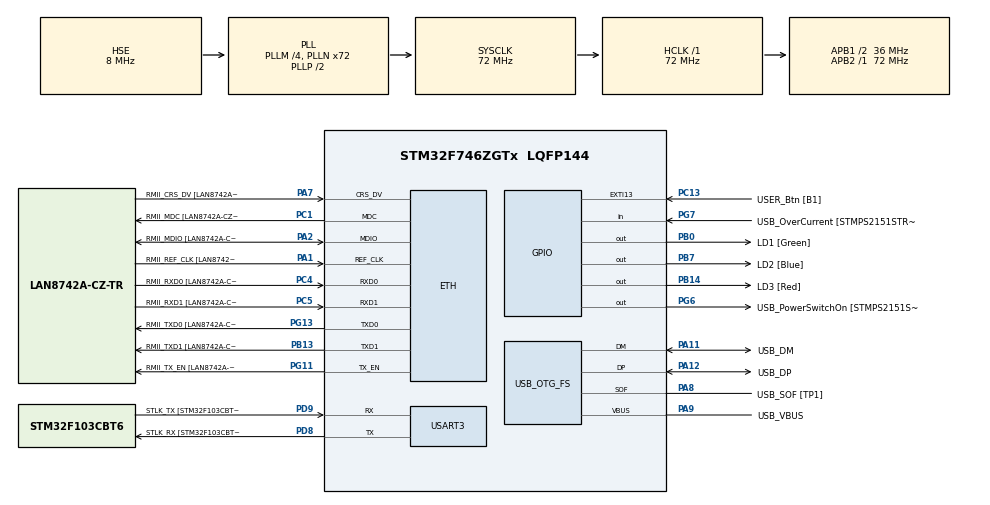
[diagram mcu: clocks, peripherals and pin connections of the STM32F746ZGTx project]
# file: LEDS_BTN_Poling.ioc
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ETH.MediaInterface=ETH_MEDIA_INTERFACE_RMII
ETH.PHY_Name=LAN8742A_PHY_ADDRESS
ETH.PHY_Value=0
ETH.PhyAddress=0
Mcu.Family=STM32F7
Mcu.Name=STM32F746ZGTx
Mcu.Package=LQFP144
NVIC.PriorityGroup=NVIC_PRIORITYGROUP_4
PA1.GPIO_Label=RMII_REF_CLK [LAN8742A-CZ-TR_REFCLK0]
PA1.Mode=RMII
PA1.Signal=ETH_REF_CLK
PA10.GPIO_Label=USB_ID
PA10.Signal=USB_OTG_FS_ID
PA11.GPIO_Label=USB_DM
PA11.Mode=Device_Only
PA11.Signal=USB_OTG_FS_DM
PA12.GPIO_Label=USB_DP
PA12.Mode=Device_Only
PA12.Signal=USB_OTG_FS_DP
PA13.GPIO_Label=TMS
PA13.Mode=Serial_Wire
PA13.Signal=SYS_JTMS-SWDIO
PA14.GPIO_Label=TCK
PA14.Mode=Serial_Wire
PA14.Signal=SYS_JTCK-SWCLK
PA2.GPIO_Label=RMII_MDIO [LAN8742A-CZ-TR_MDIO]
PA2.Mode=RMII
PA2.Signal=ETH_MDIO
PA7.GPIO_Label=RMII_CRS_DV [LAN8742A-CZ-TR_CRS_DV]
PA7.Mode=RMII
PA7.Signal=ETH_CRS_DV
PA8.GPIO_Label=USB_SOF [TP1]
PA8.Mode=Activate_SOF_FS
PA8.Signal=USB_OTG_FS_SOF
PA9.GPIO_Label=USB_VBUS
PA9.Mode=Activate_VBUS
PA9.Signal=USB_OTG_FS_VBUS
PB0.GPIO_Label=LD1 [Green]
PB0.Signal=GPIO_Output
PB13.GPIO_Label=RMII_TXD1 [LAN8742A-CZ-TR_TXD1]
PB13.Mode=RMII
PB13.Signal=ETH_TXD1
PB14.GPIO_Label=LD3 [Red]
PB14.Signal=GPIO_Output
PB3.GPIO_Label=SW0
PB3.Signal=SYS_JTDO-SWO
PB7.GPIO_Label=LD2 [Blue]
PB7.Signal=GPIO_Output
PC1.GPIO_Label=RMII_MDC [LAN8742A-CZ-TR_MDC]
PC1.Mode=RMII
PC1.Signal=ETH_MDC
PC13.GPIO_Label=USER_Btn [B1]
PC13.Signal=GPXTI13
PC14/OSC32_IN.Mode=LSE-External-Oscillator
PC14/OSC32_IN.Signal=RCC_OSC32_IN
PC15/OSC32_OUT.Mode=LSE-External-Oscillator
PC15/OSC32_OUT.Signal=RCC_OSC32_OUT
PC4.GPIO_Label=RMII_RXD0 [LAN8742A-CZ-TR_RXD0]
PC4.Mode=RMII
PC4.Signal=ETH_RXD0
PC5.GPIO_Label=RMII_RXD1 [LAN8742A-CZ-TR_RXD1]
PC5.Mode=RMII
PC5.Signal=ETH_RXD1
PD8.GPIO_Label=STLK_RX [STM32F103CBT6_PA3]
PD8.Mode=Asynchronous
PD8.Signal=USART3_TX
PD9.GPIO_Label=STLK_TX [STM32F103CBT6_PA2]
PD9.Mode=Asynchronous
PD9.Signal=USART3_RX
PG11.GPIO_Label=RMII_TX_EN [LAN8742A-CZ-TR_TXEN]
PG11.Mode=RMII
PG11.Signal=ETH_TX_EN
PG13.GPIO_Label=RMII_TXD0 [LAN8742A-CZ-TR_TXD0]
PG13.Mode=RMII
PG13.Signal=ETH_TXD0
PG6.GPIO_Label=USB_PowerSwitchOn [STMPS2151STR_EN]
PG6.Signal=GPIO_Output
PG7.GPIO_Label=USB_OverCurrent [STMPS2151STR_FAULT]
PG7.Signal=GPIO_Input
PH0/OSC_IN.GPIO_Label=MCO [STM32F103CBT6_PA8]
PH0/OSC_IN.Mode=HSE-External-Clock-Source
PH0/OSC_IN.Signal=RCC_OSC_IN
PH1/OSC_OUT.Mode=HSE-External-Clock-Source
PH1/OSC_OUT.Signal=RCC_OSC_OUT
ProjectManager.HeapSize=0x200
ProjectManager.StackSize=0x400
ProjectManager.TargetToolchain=STM32CubeIDE
RCC.48MHZClocksFreq_Value=24000000
RCC.AHBFreq_Value=72000000
RCC.APB1CLKDivider=RCC_HCLK_DIV2
RCC.APB1Freq_Value=36000000
RCC.APB1TimFreq_Value=72000000
RCC.APB2Freq_Value=72000000
RCC.APB2TimFreq_Value=72000000
RCC.CortexFreq_Value=72000000
RCC.HCLKFreq_Value=72000000
RCC.HSE_VALUE=8000000
RCC.HSI_VALUE=16000000
RCC.PLLM=4
RCC.PLLMUL=RCC_PLL_MUL9
RCC.PLLN=72
RCC.PLLQ=3
RCC.PRESCALERUSB=RCC_USBCLKSOURCE_PLL_DIV1_5
RCC.SYSCLKFreq_VALUE=72000000
RCC.SYSCLKSource=RCC_SYSCLKSOURCE_PLLCLK
RCC.SYSCLKSourceVirtual=RCC_SYSCLKSOURCE_PLLCLK
RCC.USBFreq_Value=48000000
RCC.VCOOutputFreq_Value=144000000
USART3.VirtualMode-Asynchronous=VM_ASYNC
USB_OTG_FS.VirtualMode=Device_Only
board=NUCLEO-F746ZG

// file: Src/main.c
/* USER CODE BEGIN Header */
/**
  ******************************************************************************
  * @file           : main.c
  * @brief          : Main program body
  ******************************************************************************
  * @attention
  *
  * <h2><center>&copy; Copyright (c) 2020 STMicroelectronics.
  * All rights reserved.</center></h2>
  *
  * This software component is licensed by ST under BSD 3-Clause license,
  * the "License"; You may not use this file except in compliance with the
  * License. You may obtain a copy of the License at:
  *                        opensource.org/licenses/BSD-3-Clause
  *
  ******************************************************************************
  */
/* USER CODE END Header */

#include "main.h"

/* USER CODE BEGIN Includes */
#include <stdio.h>

/* USER CODE END Includes */

ETH_HandleTypeDef heth;

UART_HandleTypeDef huart3;

PCD_HandleTypeDef hpcd_USB_OTG_FS;

void SystemClock_Config(void);
static void MX_GPIO_Init(void);
static void MX_ETH_Init(void);
static void MX_USART3_UART_Init(void);
static void MX_USB_OTG_FS_PCD_Init(void);

/* USER CODE BEGIN 0 */
// for printf
#ifdef __GNUC__
/* With GCC/RAISONANCE, small printf (option LD Linker->Libraries->Small printf
 set to 'Yes') calls __io_putchar() */
#define PUTCHAR_PROTOTYPE int __io_putchar(int ch)
#else
#define PUTCHAR_PROTOTYPE int fputc(int ch, FILE *f)
#endif /* __GNUC__ */

/**
 * @brief Retargets the C library printf function to the USART.
 * @param None
 * @retval None
 */
PUTCHAR_PROTOTYPE
{
 /* Place your implementation of fputc here */
 /* e.g. write a character to the USART2 and Loop until the end of transmission */
 HAL_UART_Transmit(&huart3, (uint8_t *)&ch, 1, 0xFFFF);
// if(ch==10)
// {
//	 ch=13;
//	 HAL_UART_Transmit(&huart3, (uint8_t *)&ch, 1, 0xFFFF);
// }
return ch;
}
//===========================================================================

/* USER CODE END 0 */

int main(void)
{

  /* MCU Configuration--------------------------------------------------------*/

  /* Reset of all peripherals, Initializes the Flash interface and the Systick. */
  HAL_Init();

  /* USER CODE BEGIN Init */
  int n=0;
  /* USER CODE END Init */

  /* Configure the system clock */
  SystemClock_Config();

  /* Initialize all configured peripherals */
  MX_GPIO_Init();
  MX_ETH_Init();
  MX_USART3_UART_Init();
  MX_USB_OTG_FS_PCD_Init();

  /* Infinite loop */
  /* USER CODE BEGIN WHILE */
  while (1)
  {
	  //read LED1 state
	  n = HAL_GPIO_ReadPin(LD1_GPIO_Port,LD1_Pin);
	  //write LED1 inverse state
	  HAL_GPIO_WritePin(LD1_GPIO_Port, LD1_Pin,!n);

	  //read button state
	  if( HAL_GPIO_ReadPin(GPIOC, GPIO_PIN_13) )
	  {
		  HAL_GPIO_TogglePin(LD2_GPIO_Port, LD2_Pin);
		  printf("button\n\r");
	  }
    /* USER CODE END WHILE */

    /* USER CODE BEGIN 3 */
	  HAL_Delay(100);
  }
  /* USER CODE END 3 */
}

void SystemClock_Config(void)
{
  RCC_OscInitTypeDef RCC_OscInitStruct = {0};
  RCC_ClkInitTypeDef RCC_ClkInitStruct = {0};
  RCC_PeriphCLKInitTypeDef PeriphClkInitStruct = {0};

  /** Configure LSE Drive Capability
  */
  HAL_PWR_EnableBkUpAccess();
  /** Configure the main internal regulator output voltage
  */
  __HAL_RCC_PWR_CLK_ENABLE();
  __HAL_PWR_VOLTAGESCALING_CONFIG(PWR_REGULATOR_VOLTAGE_SCALE3);
  /** Initializes the CPU, AHB and APB busses clocks
  */
  RCC_OscInitStruct.OscillatorType = RCC_OSCILLATORTYPE_HSE;
  RCC_OscInitStruct.HSEState = RCC_HSE_BYPASS;
  RCC_OscInitStruct.PLL.PLLState = RCC_PLL_ON;
  RCC_OscInitStruct.PLL.PLLSource = RCC_PLLSOURCE_HSE;
  RCC_OscInitStruct.PLL.PLLM = 4;
  RCC_OscInitStruct.PLL.PLLN = 72;
  RCC_OscInitStruct.PLL.PLLP = RCC_PLLP_DIV2;
  RCC_OscInitStruct.PLL.PLLQ = 3;
  if (HAL_RCC_OscConfig(&RCC_OscInitStruct) != HAL_OK)
  {
    Error_Handler();
  }
  /** Initializes the CPU, AHB and APB busses clocks
  */
  RCC_ClkInitStruct.ClockType = RCC_CLOCKTYPE_HCLK|RCC_CLOCKTYPE_SYSCLK
                              |RCC_CLOCKTYPE_PCLK1|RCC_CLOCKTYPE_PCLK2;
  RCC_ClkInitStruct.SYSCLKSource = RCC_SYSCLKSOURCE_PLLCLK;
  RCC_ClkInitStruct.AHBCLKDivider = RCC_SYSCLK_DIV1;
  RCC_ClkInitStruct.APB1CLKDivider = RCC_HCLK_DIV2;
  RCC_ClkInitStruct.APB2CLKDivider = RCC_HCLK_DIV1;

  if (HAL_RCC_ClockConfig(&RCC_ClkInitStruct, FLASH_LATENCY_2) != HAL_OK)
  {
    Error_Handler();
  }
  PeriphClkInitStruct.PeriphClockSelection = RCC_PERIPHCLK_USART3|RCC_PERIPHCLK_CLK48;
  PeriphClkInitStruct.Usart3ClockSelection = RCC_USART3CLKSOURCE_PCLK1;
  PeriphClkInitStruct.Clk48ClockSelection = RCC_CLK48SOURCE_PLL;
  if (HAL_RCCEx_PeriphCLKConfig(&PeriphClkInitStruct) != HAL_OK)
  {
    Error_Handler();
  }
}

static void MX_ETH_Init(void)
{

   uint8_t MACAddr[6] ;

  heth.Instance = ETH;
  heth.Init.AutoNegotiation = ETH_AUTONEGOTIATION_ENABLE;
  heth.Init.PhyAddress = LAN8742A_PHY_ADDRESS;
  MACAddr[0] = 0x00;
  MACAddr[1] = 0x80;
  MACAddr[2] = 0xE1;
  MACAddr[3] = 0x00;
  MACAddr[4] = 0x00;
  MACAddr[5] = 0x00;
  heth.Init.MACAddr = &MACAddr[0];
  heth.Init.RxMode = ETH_RXPOLLING_MODE;
  heth.Init.ChecksumMode = ETH_CHECKSUM_BY_HARDWARE;
  heth.Init.MediaInterface = ETH_MEDIA_INTERFACE_RMII;

  if (HAL_ETH_Init(&heth) != HAL_OK)
  {
    Error_Handler();
  }

}

static void MX_USART3_UART_Init(void)
{

  huart3.Instance = USART3;
  huart3.Init.BaudRate = 115200;
  huart3.Init.WordLength = UART_WORDLENGTH_8B;
  huart3.Init.StopBits = UART_STOPBITS_1;
  huart3.Init.Parity = UART_PARITY_NONE;
  huart3.Init.Mode = UART_MODE_TX_RX;
  huart3.Init.HwFlowCtl = UART_HWCONTROL_NONE;
  huart3.Init.OverSampling = UART_OVERSAMPLING_16;
  huart3.Init.OneBitSampling = UART_ONE_BIT_SAMPLE_DISABLE;
  huart3.AdvancedInit.AdvFeatureInit = UART_ADVFEATURE_NO_INIT;
  if (HAL_UART_Init(&huart3) != HAL_OK)
  {
    Error_Handler();
  }

}

static void MX_USB_OTG_FS_PCD_Init(void)
{

  hpcd_USB_OTG_FS.Instance = USB_OTG_FS;
  hpcd_USB_OTG_FS.Init.dev_endpoints = 6;
  hpcd_USB_OTG_FS.Init.speed = PCD_SPEED_FULL;
  hpcd_USB_OTG_FS.Init.dma_enable = DISABLE;
  hpcd_USB_OTG_FS.Init.phy_itface = PCD_PHY_EMBEDDED;
  hpcd_USB_OTG_FS.Init.Sof_enable = ENABLE;
  hpcd_USB_OTG_FS.Init.low_power_enable = DISABLE;
  hpcd_USB_OTG_FS.Init.lpm_enable = DISABLE;
  hpcd_USB_OTG_FS.Init.vbus_sensing_enable = ENABLE;
  hpcd_USB_OTG_FS.Init.use_dedicated_ep1 = DISABLE;
  if (HAL_PCD_Init(&hpcd_USB_OTG_FS) != HAL_OK)
  {
    Error_Handler();
  }

}

static void MX_GPIO_Init(void)
{
  GPIO_InitTypeDef GPIO_InitStruct = {0};

  /* GPIO Ports Clock Enable */
  __HAL_RCC_GPIOC_CLK_ENABLE();
  __HAL_RCC_GPIOH_CLK_ENABLE();
  __HAL_RCC_GPIOA_CLK_ENABLE();
  __HAL_RCC_GPIOB_CLK_ENABLE();
  __HAL_RCC_GPIOD_CLK_ENABLE();
  __HAL_RCC_GPIOG_CLK_ENABLE();

  /*Configure GPIO pin Output Level */
  HAL_GPIO_WritePin(GPIOB, LD1_Pin|LD3_Pin|LD2_Pin, GPIO_PIN_RESET);

  /*Configure GPIO pin Output Level */
  HAL_GPIO_WritePin(USB_PowerSwitchOn_GPIO_Port, USB_PowerSwitchOn_Pin, GPIO_PIN_RESET);

  /*Configure GPIO pin : USER_Btn_Pin */
  GPIO_InitStruct.Pin = USER_Btn_Pin;
  GPIO_InitStruct.Mode = GPIO_MODE_IT_RISING;
  GPIO_InitStruct.Pull = GPIO_NOPULL;
  HAL_GPIO_Init(USER_Btn_GPIO_Port, &GPIO_InitStruct);

  /*Configure GPIO pins : LD1_Pin LD3_Pin LD2_Pin */
  GPIO_InitStruct.Pin = LD1_Pin|LD3_Pin|LD2_Pin;
  GPIO_InitStruct.Mode = GPIO_MODE_OUTPUT_PP;
  GPIO_InitStruct.Pull = GPIO_NOPULL;
  GPIO_InitStruct.Speed = GPIO_SPEED_FREQ_LOW;
  HAL_GPIO_Init(GPIOB, &GPIO_InitStruct);

  /*Configure GPIO pin : USB_PowerSwitchOn_Pin */
  GPIO_InitStruct.Pin = USB_PowerSwitchOn_Pin;
  GPIO_InitStruct.Mode = GPIO_MODE_OUTPUT_PP;
  GPIO_InitStruct.Pull = GPIO_NOPULL;
  GPIO_InitStruct.Speed = GPIO_SPEED_FREQ_LOW;
  HAL_GPIO_Init(USB_PowerSwitchOn_GPIO_Port, &GPIO_InitStruct);

  /*Configure GPIO pin : USB_OverCurrent_Pin */
  GPIO_InitStruct.Pin = USB_OverCurrent_Pin;
  GPIO_InitStruct.Mode = GPIO_MODE_INPUT;
  GPIO_InitStruct.Pull = GPIO_NOPULL;
  HAL_GPIO_Init(USB_OverCurrent_GPIO_Port, &GPIO_InitStruct);

}

void Error_Handler(void)
{
}

/************************ (C) COPYRIGHT STMicroelectronics *****END OF FILE****/
